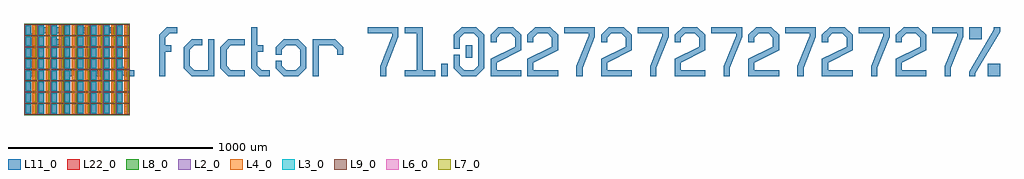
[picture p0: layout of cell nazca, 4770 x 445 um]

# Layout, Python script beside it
import nazca as nd 
from n_metal_open_v2 import n_metal_ring_process
from p_rings_metal_openings import p_metal_contact_structure
import numpy as np
from device_for_array import draw_device
from frame import draw_frame, draw_frame_no_pins



def one_device():
    with nd.Cell(name = "One Device") as one_device_for_array:

        frame_length = 50
        frame_width = 50
        dicing_area = 2
        frame_layer = 8

        sio_cover_for_regrowth = draw_frame_no_pins(frame_length, frame_width, dicing_area,frame_layer).put(0,0)

        #P-metal layer Ti/Pt/Au, layer number 2
        p_contact_length = 30
        p_contact_width  = 50
        p_contact_layer  = 2
        p_metal_contact = nd.strt(length = p_contact_length, width = p_contact_width, layer = p_contact_layer).put(-p_contact_length/2-5-5,0)

        #P-metal layer, extra Ti/Pt/Au, layer number 22
        p_contact_length = 30
        p_contact_width  = 50
        p_contact_layer  = 22
        p_metal_contact = nd.strt(length = p_contact_length, width = p_contact_width, layer = p_contact_layer).put(-p_contact_length/2-5-5,0)



        p_contact__sio_opening_length = p_contact_length-5
        p_contact__sio_opening_width  = p_contact_width-5
        p_contact__sio_opening_layer = 3
        p_metal_contact = nd.strt(length = p_contact__sio_opening_length, width = p_contact__sio_opening_width, layer = p_contact__sio_opening_layer).put(-p_contact__sio_opening_length/2-5-5,0)



        n_contact_length  = 34.5-10-2
        n_contact_width  = p_contact_width
        n_contact_layer = 4
        distance_p_n_contacts  =2-0.5
        only_metal_contact_move_for_n = -9+2.5-1.5-3-1
        n_contact = nd.strt(length = n_contact_length, width = n_contact_width, layer = n_contact_layer).put(+frame_length/2+distance_p_n_contacts-3+only_metal_contact_move_for_n,0)
        n_contact_layer = 22
        n_contact = nd.strt(length = n_contact_length, width = n_contact_width, layer = n_contact_layer).put(+frame_length/2+distance_p_n_contacts-3+only_metal_contact_move_for_n,0)

        n_contact_semi_etch_length  = 7
        n_contact_semi_etch_width  = p_contact_width-5+2
        n_contact__semi_etch_layer = 6
        semi_etch_distance = 20-10+1.5-3
        n_contact = nd.strt(length = n_contact_semi_etch_length, width = n_contact_semi_etch_width, layer = n_contact__semi_etch_layer).put(+frame_length/2+distance_p_n_contacts+semi_etch_distance-9+1,0)

        n_contact_sio_bot_etch_length  = 5
        n_contact_sio_bot_etch_width  = p_contact_width-10+2.5+0.5+2
        n_contact_sio_bot_etch_layer = 7
        semi_etch_distance = 20.75-10+1.5+0.25-3
        n_contact = nd.strt(length = n_contact_sio_bot_etch_length, width = n_contact_sio_bot_etch_width, layer = n_contact_sio_bot_etch_layer).put(-0.25+frame_length/2+distance_p_n_contacts+semi_etch_distance-9+1.25/2-0.125-0.25+1,0)




        tota_frame_length = 75.5-1-14.5-1
        total_frame_width = 50
        total_frame_dicing_area = 5
        tota_frame_layer = 8
        total_frame = draw_frame_no_pins(tota_frame_length, total_frame_width, total_frame_dicing_area,tota_frame_layer).put(5-0.5,0)



        isolation_length = 94.5-14-2.5-1-14.5-1
        isolation_width = 52.5
        isolation_dicing_area = 2.5
        isolation_layer = 9
        isolation_region = draw_frame_no_pins(isolation_length, isolation_width, isolation_dicing_area,isolation_layer).put(5-0.5,0)

    return one_device_for_array




tota_frame_length = 89.5-14-5-1-11.5-3-1
print("total frame length {}".format(tota_frame_length))
total_frame_width = 50-5
total_frame_dicing_area = 10
array_x = 8
array_y = 8
for i in range(array_x):
    for j in range(array_y):
        one_device().put(i*(tota_frame_length+total_frame_dicing_area),j*(total_frame_width+total_frame_dicing_area))





x_array_dimension = total_frame_width*array_y
y_array_dimension = tota_frame_length*array_x
print(x_array_dimension)
print(y_array_dimension)



active_area = 50*50

frame_length = 64
frame_width = 55
fill_factor = (active_area/(frame_length*frame_width))*100
print(fill_factor)
layer_text = 11
fill_factor_letters = nd.text("fill factor {}%".format(fill_factor), height=300,layer=layer_text).put(0,100)




nd.export_gds(filename="square_PD_array_V2.gds")
